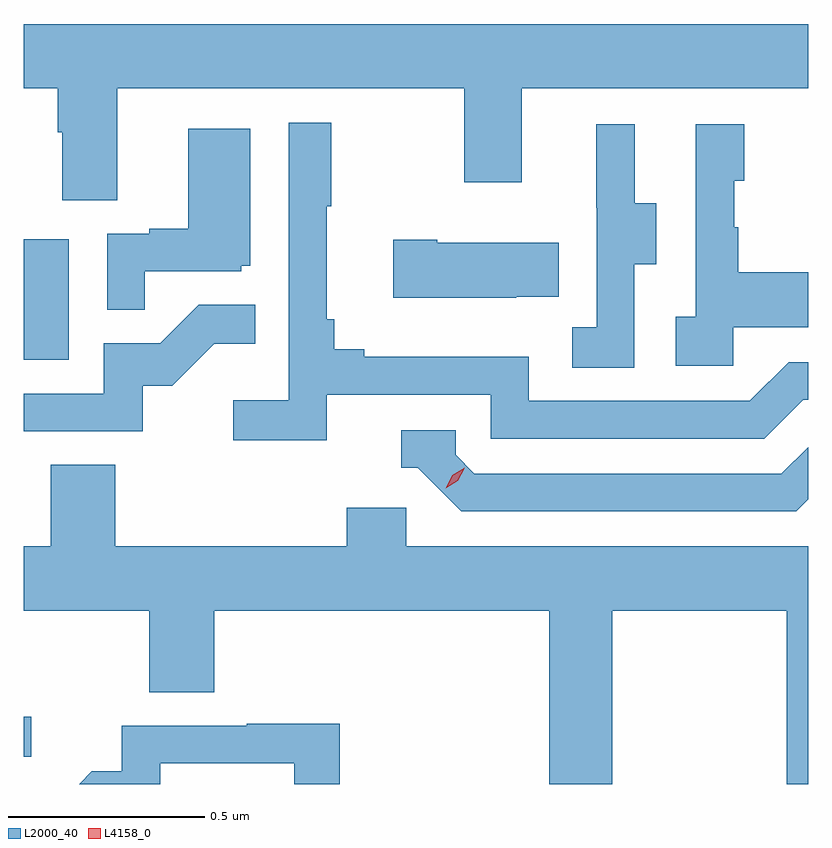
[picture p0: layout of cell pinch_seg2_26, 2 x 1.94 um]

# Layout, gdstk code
import gdstk
lib = gdstk.Library(unit=1e-6, precision=1e-09)
def R(c, l, rs):  # rectangles x0, y0, x1, y1
    for r in rs: c.add(gdstk.rectangle(r[:2], r[2:], *l))
def P(c, l, *ps):  # polygons
    for p in ps: c.add(gdstk.Polygon(p, *l))
L2000_40 = (2000, 40)
L4158_0 = (4158, 0)

pinch_seg2_26 = lib.new_cell('pinch_seg2_26')
R(pinch_seg2_26, L2000_40, [(1084.005,655.256,1084.024,655.358), (1084.005,656.268,1084.12,656.575)])
P(pinch_seg2_26, L2000_40, [(1084.243,656.96),(1085.128,656.96),(1085.128,656.721),(1085.275,656.721),(1085.275,656.96),(1086.005,656.96),(1086.005,657.124),(1084.005,657.124),(1084.005,656.96),(1084.091,656.96),(1084.091,656.848),(1084.103,656.848),(1084.103,656.674),(1084.243,656.674)],
  [(1084.778,656.178),(1085.196,656.178),(1085.196,656.067),(1085.893,656.067),(1085.992,656.166),(1086.005,656.166),(1086.005,656.262),(1085.955,656.262),(1085.856,656.163),(1085.292,656.163),(1085.292,656.275),(1084.873,656.275),(1084.873,656.294),(1084.796,656.294),(1084.796,656.371),(1084.777,656.371),(1084.777,656.659),(1084.789,656.659),(1084.789,656.872),(1084.68,656.872),(1084.68,656.164),(1084.539,656.164),(1084.539,656.062),(1084.778,656.062)],
  [(1085.814,656.351),(1086.005,656.351),(1086.005,656.491),(1085.827,656.491),(1085.827,656.606),(1085.817,656.606),(1085.817,656.724),(1085.842,656.724),(1085.842,656.869),(1085.718,656.869),(1085.718,656.378),(1085.667,656.378),(1085.667,656.253),(1085.814,656.253)],
  [(1085.562,656.512),(1085.617,656.512),(1085.617,656.667),(1085.563,656.667),(1085.563,656.869),(1085.465,656.869),(1085.465,656.655),(1085.466,656.655),(1085.466,656.351),(1085.403,656.351),(1085.403,656.248),(1085.562,656.248)],
  [(1084.313,656.493),(1084.56,656.493),(1084.56,656.508),(1084.582,656.508),(1084.582,656.857),(1084.424,656.857),(1084.424,656.602),(1084.325,656.602),(1084.325,656.589),(1084.218,656.589),(1084.218,656.395),(1084.313,656.395)],
  [(1085.261,656.429),(1085.369,656.429),(1085.369,656.566),(1085.059,656.566),(1085.059,656.574),(1084.947,656.574),(1084.947,656.426),(1085.261,656.426)],
  [(1084.308,656.202),(1084.384,656.202),(1084.491,656.309),(1084.595,656.309),(1084.595,656.408),(1084.451,656.408),(1084.353,656.31),(1084.209,656.31),(1084.209,656.181),(1084.005,656.181),(1084.005,656.085),(1084.308,656.085)],
  [(1086.005,655.912),(1086.005,656.045),(1085.937,655.977),(1085.154,655.977),(1085.106,656.025),(1085.106,656.088),(1084.967,656.088),(1084.967,655.992),(1085.01,655.992),(1085.121,655.881),(1085.974,655.881)],
  [(1085.505,655.628),(1085.95,655.628),(1085.95,655.186),(1086.005,655.186),(1086.005,655.792),(1084.98,655.792),(1084.98,655.89),(1084.829,655.89),(1084.829,655.792),(1084.238,655.792),(1084.238,656),(1084.073,656),(1084.073,655.792),(1084.005,655.792),(1084.005,655.628),(1084.325,655.628),(1084.325,655.42),(1084.49,655.42),(1084.49,655.628),(1085.345,655.628),(1085.345,655.186),(1085.505,655.186)],
  [(1084.353,655.239),(1084.695,655.239),(1084.695,655.186),(1084.811,655.186),(1084.811,655.34),(1084.573,655.34),(1084.573,655.335),(1084.255,655.335),(1084.255,655.218),(1084.178,655.218),(1084.146,655.186),(1084.353,655.186)])
P(pinch_seg2_26, L4158_0, [(1085.081,655.94),(1085.081,655.94),(1085.098,655.973),(1085.129,655.992),(1085.129,655.992),(1085.129,655.992),(1085.112,655.959),(1085.081,655.94)])

lib.write_gds('pinch_seg2_26.gds')
